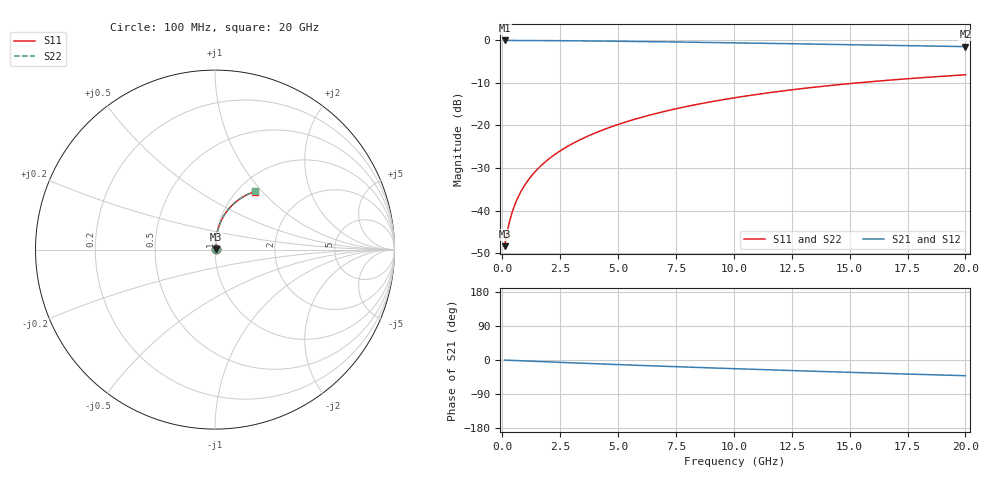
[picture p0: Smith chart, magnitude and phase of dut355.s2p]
! Touchstone file exported from HFSS 2024.1.0
!  File:  C:/UserFiles/LocalFiles/RDL_TSV_Batchsim/temp_RDL_top_355_1779608339.aedt
!  Generated:  03:41:19 PM May 24, 2026
!  Design:  RDL_top
!  Project:  temp_RDL_top_355_1779608339
!  Setup:  Setup1
!  Solution:  Sweep
! Variables:
!  dtsv = 10.80580581um
!  hbump = 3um
!  htsv = 58.15um
!  ldown = 100um
!  lrdl = 573.93um
!  p = 40
!  p1 = 51.12um
!  rhole = 1um
!  t = 450um
!  tdown = 3.915915916um
!  trdl = 3.33um
!  wdown = 15.38538539um
!  wrdl = 20.79um
# GHz S MA R 50.000000
! Terminal data exported
! Port[1] = Box2_T1
! Port[2] = Box2_T2
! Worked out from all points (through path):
!   200 points, 100 MHz to 20 GHz, reference 50 ohm
!   highest |S21| = -0.03 dB at 100 MHz (marker M1); lowest = -1.5 dB at 20 GHz (marker M2)
!   group delay of S21, straight-line fit = 5.71 ps
!   lowest |S11| = -48.4 dB at 100 MHz (marker M3), VSWR 1.01, Z = 50.3 + j0.218 ohm
!   |S11| at or under -10 dB: start of sweep to 15.34 GHz
!   |S22| runs from -48.4 to -8.1 dB; largest |S21 - S12| = 2.1e-15
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0.1  0.003808 34.7  0.9969 -0.3  0.9969 -0.3  0.003808 34.7
! Gamma 0 0 0 0
! Port Impedance 50 0 50 0
0.2  0.005379 52.7  0.9967 -0.5  0.9967 -0.5  0.005379 52.7
0.3  0.007181 61.7  0.9965 -0.8  0.9965 -0.8  0.007181 61.7
0.4  0.009035 66.9  0.9963 -1.0  0.9963 -1.0  0.009035 66.9
0.5  0.01091 70.3  0.9962 -1.3  0.9962 -1.3  0.01091 70.3
0.6  0.01279 72.8  0.996 -1.5  0.996 -1.5  0.01279 72.8
0.8  0.01659 76.2  0.9956 -2.0  0.9956 -2.0  0.01659 76.2
1.1  0.02238 79.2  0.995 -2.8  0.995 -2.8  0.02238 79.2
1.3  0.02628 80.5  0.9945 -3.3  0.9945 -3.3  0.02628 80.5
1.6  0.03219 81.7  0.9937 -4.0  0.9937 -4.0  0.03219 81.7
2.1  0.04217 82.8  0.992 -5.2  0.992 -5.2  0.04217 82.9
2.7  0.05432 83.4  0.9895 -6.7  0.9895 -6.7  0.05433 83.4
3.5  0.07083 83.4  0.9854 -8.6  0.9854 -8.6  0.07085 83.4
4.2  0.08554 83.0  0.9812 -10.3  0.9812 -10.3  0.08556 83.0
5  0.1026 82.2  0.9758 -12.1  0.9758 -12.1  0.1026 82.2
5.9  0.1221 81.1  0.9691 -14.2  0.9691 -14.2  0.1221 81.1
6.8  0.1416 79.7  0.962 -16.2  0.962 -16.2  0.1417 79.8
8.4  0.1764 77.0  0.9487 -19.6  0.9487 -19.6  0.1765 77.0
10.1  0.2128 73.8  0.9338 -23.1  0.9338 -23.1  0.2129 73.9
13.4  0.2798 67.4  0.9041 -29.6  0.9041 -29.6  0.28 67.5
16.7  0.3403 61.2  0.8738 -35.7  0.8738 -35.7  0.3406 61.2
20  0.3935 55.3  0.8438 -41.4  0.8438 -41.4  0.3938 55.3
